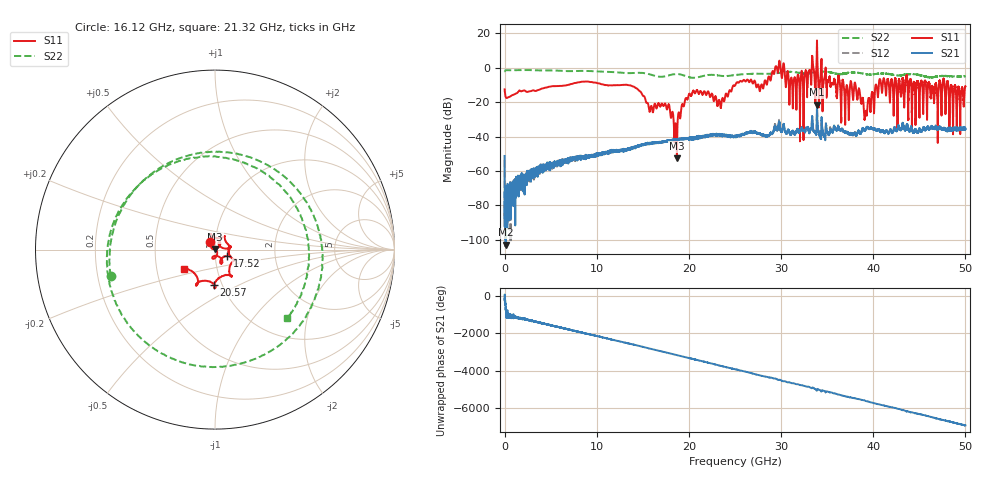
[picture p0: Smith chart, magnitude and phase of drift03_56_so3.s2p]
!Created with skrf (http://scikit-rf.org).
# Hz S RI R 50.0
!freq ReS11 ImS11 ReS21 ImS21 ReS12 ImS12 ReS22 ImS22
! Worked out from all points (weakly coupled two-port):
!   10001 points, 300 kHz to 50 GHz, reference 50 ohm
!   highest |S21| = -21.51 dB at 33.9 GHz (marker M1); lowest = -103.0 dB at 110.3 MHz (marker M2)
!   lowest |S11| = -52.7 dB at 18.7 GHz (marker M3), VSWR 1.00, Z = 50 + j0.228 ohm
!   |S11| at or under -10 dB: start of sweep to 6.944 GHz; 13.32 GHz to 25.04 GHz (11.73 GHz wide, 61.1 % of centre); 38.08 GHz to 40.27 GHz (2.189 GHz wide, 5.59 % of centre) (the widest 3 of 50)
!   |S22| runs from -5.9 to -1.3 dB; largest |S21 - S12| = 0.008
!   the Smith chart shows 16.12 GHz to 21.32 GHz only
!   S11 on the Smith chart (normalised r, x): 16.12 GHz: 0.94, +0.08; 17.52 GHz: 1.15, -0.08; 20.57 GHz: 0.92, -0.37; 21.32 GHz: 0.69, -0.16
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300000  -0.2119 -0.0992  -0.00261 -0.000768  0.00115 0.00171  -0.7645 -0.1951
1.102993e8  -0.1289 0.0602  5.03e-06 5.04e-06  -2.17e-05 6.78e-05  -0.8241 0.1703
1.535291e9  0.2048 0.0436  -5.29e-05 -0.000313  -0.000144 -0.000385  0.8489 0.0775
3.160281e9  -0.2185 -0.00837  -6.39e-05 0.000899  0.000132 0.000887  -0.8446 -0.0248
4.665272e9  0.2632 0.0613  -4.7e-05 -0.00159  -4.03e-05 -0.00137  0.8186 0.1429
6.360262e9  -0.3001 0.00049  0.000459 0.00179  0.00037 0.00184  -0.8037 -0.0429
8.33525e9  0.284 -0.2679  -0.00213 -0.000821  -0.00234 -0.000798  0.6025 -0.5356
9.575243e9  -0.3719 -0.0483  0.0014 0.00242  0.00141 0.00229  -0.7858 -0.0958
1.124523e10  0.305 0.023  -0.00215 -0.00261  -0.00251 -0.00251  0.7571 0.021
1.61202e10  -0.0304 0.0424  0.00624 0.00221  0.00597 0.00202  -0.5796 -0.1465
1.66702e10  0.0537 0.0754  0.00449 -0.00469  0.00472 -0.00469  -0.3604 0.4176
1.751519e10  0.0694 -0.0348  -0.00602 -0.00435  -0.0059 -0.00405  0.4855 0.2997
1.869519e10  0.000429 0.00227  0.00261 0.00766  0.00252 0.0078  -0.088 -0.6481
2.057018e10  -0.0061 -0.1962  -0.00733 -0.00419  -0.00749 -0.00401  0.3703 0.3487
2.131517e10  -0.1719 -0.1087  -0.00477 0.0083  -0.00537 0.00822  0.4003 -0.3821
2.500015e10  -0.2972 -0.0486  0.00765 0.00631  0.00794 0.00645  -0.1841 -0.5844
3.051512e10  0.2379 -0.1279  -0.00187 0.0124  -0.00178 0.013  0.7427 -0.0664
3.213011e10  0.2032 0.3717  4.97e-05 -0.0148  -0.00102 -0.0152  -0.6949 0.0138
3.33351e10  0.4696 -0.9873  -0.00561 0.0251  -0.00617 0.0247  0.6136 0.3673
3.39001e10  1.984 -5.489  0.0717 0.0438  0.0699 0.0363  0.6756 -0.3255
4.167005e10  -0.2222 0.2869  -0.0118 -0.00477  -0.0114 -0.00519  -0.6552 -0.0571
5e10  -0.1424 -0.2516  0.00324 -0.0167  0.00178 -0.0153  0.4681 -0.3117
